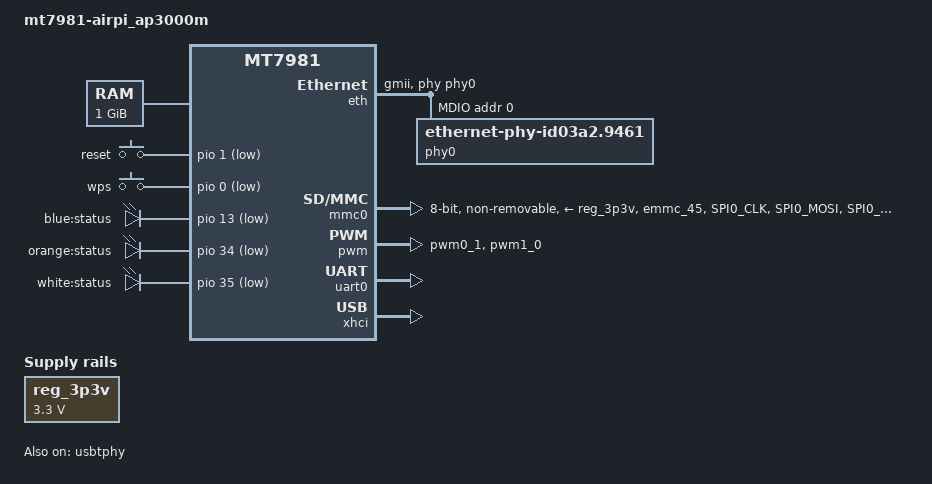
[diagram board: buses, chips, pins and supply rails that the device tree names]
// SPDX-License-Identifier: GPL-2.0-or-later OR MIT

/dts-v1/;
#include "mt7981.dtsi"
#include <dt-bindings/gpio/gpio.h>

/ {
	#address-cells = <1>;
	#size-cells = <1>;
	model = "mt7981-airpi_ap3000m";
	compatible = "mediatek,mt7981", "mediatek,mt7981-rfb";

	chosen {
		stdout-path = &uart0;
		tick-timer = &timer0;
	};

	config {
		bootcmd = "mtkboardboot";
		blink_led = "blue:status";
		system_led = "blue:status";
	};

	memory@40000000 {
		device_type = "memory";
		reg = <0x40000000 0x40000000>;
	};

	gpio-keys {
		compatible = "gpio-keys";

		reset-button {
			label = "reset";
			linux,code = <KEY_RESTART>;
			gpios = <&pio 1 GPIO_ACTIVE_LOW>;
		};

		wps-button {
			label = "wps";
			linux,code = <KEY_WPS_BUTTON>;
			gpios = <&pio 0 GPIO_ACTIVE_LOW>;
		};
	};

	leds {
		compatible = "gpio-leds";

		led_sys_blue: led-0 {
			label = "blue:status";
			gpios = <&pio 13 GPIO_ACTIVE_LOW>;
		};

		wifi2g: led-1 {
			label = "orange:status";
			gpios = <&pio 34 GPIO_ACTIVE_LOW>;
		};

		wifi5g: led-2 {
			label = "white:status";
			gpios = <&pio 35 GPIO_ACTIVE_LOW>;
		};
	};

	reg_3p3v: regulator-3p3v {
		  compatible = "regulator-fixed";
		  regulator-name = "fixed-3.3V";
		  regulator-min-microvolt = <3300000>;
		  regulator-max-microvolt = <3300000>;
		  regulator-boot-on;
		  regulator-always-on;
	};

	bl2_verify {
		bl2_compatible = "emmc";
	};
};

&eth {
	status = "okay";
	mediatek,gmac-id = <1>;
	phy-mode = "gmii";
	phy-handle = <&phy0>;

	mdio {
		phy0: ethernet-phy@0 {
			compatible = "ethernet-phy-id03a2.9461";
			reg = <0x0>;
			phy-mode = "gmii";
		};
	};
};

&mmc0 {
	pinctrl-names = "default";
	pinctrl-0 = <&mmc0_pins_default>;
	bus-width = <8>;
	max-frequency = <52000000>;
	cap-mmc-highspeed;
	cap-mmc-hw-reset;
	vmmc-supply = <&reg_3p3v>;
	non-removable;
	status = "okay";
};

&pio {
	spic_pins: spi1-pins-func-1 {
		mux {
			function = "spi";
			groups = "spi1_1";
		};
	};

	/* pin15 as pwm0 */
	one_pwm_pins: one-pwm-pins {
		mux {
			function = "pwm";
			groups = "pwm0_1";
		};
	};

	/* pin15 as pwm0 and pin14 as pwm1 */
	two_pwm_pins: two-pwm-pins {
		mux {
			function = "pwm";
			groups = "pwm0_1", "pwm1_0";
		};
	};

	/* pin15 as pwm0, pin14 as pwm1, pin7 as pwm2 */
	three_pwm_pins: three-pwm-pins {
		mux {
			function = "pwm";
			groups = "pwm0_1", "pwm1_0", "pwm2";
		};
	};

	/* pin13 as pwm0, pin15 as pwm1, pin7 as pwm2 */
	three_pwm_pins_1: three-pwm-pins {
		mux {
			function = "pwm";
			groups = "pwm0_0", "pwm1_1", "pwm2";
		};
	};

	mmc0_pins_default: mmc0default {
		mux {
			function = "flash";
			groups = "emmc_45";
		};
		conf-cmd-dat {
			pins = "SPI0_CLK", "SPI0_MOSI", "SPI0_MISO",
				"SPI0_CS",  "SPI0_HOLD", "SPI0_WP",
				"SPI1_CLK", "SPI1_MOSI", "SPI1_MISO";
			input-enable;
			drive-strength = <MTK_DRIVE_4mA>;
			bias-pull-up = <MTK_PUPD_SET_R1R0_01>;
		};
		conf-clk {
			pins = "SPI1_CS";
			drive-strength = <MTK_DRIVE_6mA>;
			bias-pull-down = <MTK_PUPD_SET_R1R0_10>;
		};
		conf-rst {
			pins = "PWM0";
			drive-strength = <MTK_DRIVE_4mA>;
			bias-pull-up = <MTK_PUPD_SET_R1R0_01>;
		};
	};
};

&pwm {
	pinctrl-names = "default";
	pinctrl-0 = <&two_pwm_pins>;
	status = "okay";
};

&uart0 {
	status = "okay";
};

&watchdog {
	status = "disabled";
};

&usbtphy {
  status = "okay";
};

&xhci {
  status = "okay";
};
